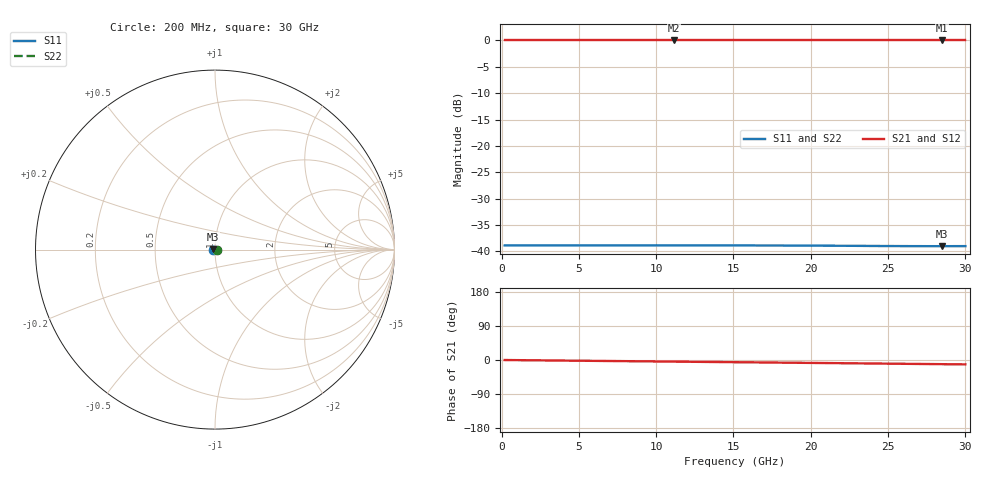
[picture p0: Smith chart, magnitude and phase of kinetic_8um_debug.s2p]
! Touchstone file exported from HFSS 2026.1.0
!  Generated:  11:53:04 AM Aug 24, 2026
!  Design:  HFSSDesign_Kinetic_debug
!  Project:  kinetic_stub_sweep
!  Setup:  Setup1
!  Solution:  Sweep_discrete_debug
! Variables:
!  stub_length = 2.5um
# GHz S MA R 50.000000
! Terminal data exported
! Port[1] = Port1
! Port[2] = Port2
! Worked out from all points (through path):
!   61 points, 200 MHz to 30 GHz, reference 50 ohm
!   highest |S21| = 0.00 dB at 28.51 GHz (marker M1); lowest = 0.0 dB at 11.13 GHz (marker M2)
!   group delay of S21, straight-line fit = 1.07 ps
!   lowest |S11| = -39.0 dB at 28.51 GHz (marker M3), VSWR 1.02, Z = 48.9 + j0.161 ohm
!   |S11| at or under -10 dB: start of sweep to end of sweep
!   |S22| runs from -39.0 to -38.8 dB; largest |S21 - S12| = 2.2e-12
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0.2  0.01139 179.8  0.9999 -0.1  0.9999 -0.1  0.01139 0.0
! Gamma 0 166.942351491881 0 168.639264208993
! Port Impedance 50 0 50 0
2.683333  0.0114 177.4  0.9999 -1.0  0.9999 -1.0  0.0114 0.6
5.166667  0.0114 175.0  0.9999 -2.0  0.9999 -2.0  0.0114 1.0
8.146667  0.01141 172.5  0.9999 -3.1  0.9999 -3.1  0.01141 1.3
10.63  0.01142 170.6  0.9999 -4.1  0.9999 -4.1  0.01142 1.3
11.12667  0.01142 170.2  0.9999 -4.3  0.9999 -4.3  0.01142 1.3
11.62333  0.01141 169.9  0.9999 -4.4  0.9999 -4.4  0.01141 1.2
13.11333  0.01141 169.0  0.9999 -5.0  0.9999 -5.0  0.01141 1.0
15.1  0.0114 168.0  0.9999 -5.8  0.9999 -5.8  0.0114 0.4
16.09333  0.01139 167.6  0.9999 -6.2  0.9999 -6.2  0.01139 0.0
17.58333  0.01138 167.2  0.9999 -6.7  0.9999 -6.7  0.01138 -0.7
18.57667  0.01137 167.0  0.9999 -7.1  0.9999 -7.1  0.01137 -1.3
20.06667  0.01135 167.0  0.9999 -7.7  0.9999 -7.7  0.01135 -2.4
22.55  0.01131 167.4  0.9999 -8.7  0.9999 -8.7  0.01131 -4.7
23.04667  0.0113 167.5  0.9999 -8.9  0.9999 -8.9  0.0113 -5.2
24.04  0.01127 167.9  0.9999 -9.3  0.9999 -9.3  0.01127 -6.4
25.53  0.01124 168.8  0.9999 -9.8  0.9999 -9.8  0.01124 -8.5
27.02  0.01122 170.0  0.9999 -10.4  0.9999 -10.4  0.01122 -10.9
28.01333  0.01122 171.0  0.9999 -10.8  0.9999 -10.8  0.01122 -12.7
28.51  0.01122 171.6  0.9999 -11.0  0.9999 -11.0  0.01122 -13.6
29.50333  0.01122 172.8  0.9999 -11.4  0.9999 -11.4  0.01122 -15.6
30  0.01123 173.4  0.9999 -11.6  0.9999 -11.6  0.01123 -16.6
